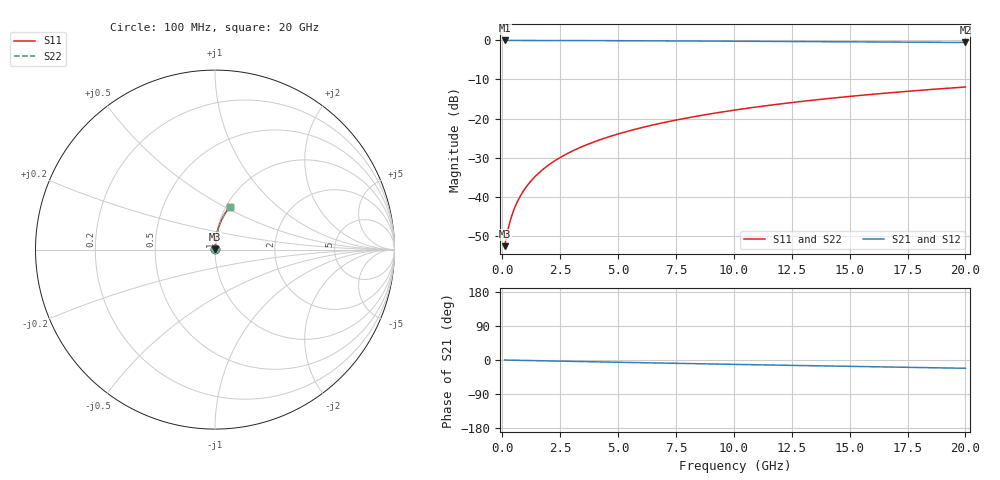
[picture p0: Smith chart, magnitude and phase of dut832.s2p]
! Touchstone file exported from HFSS 2024.1.0
!  File:  C:/UserFiles/LocalFiles/RDL_TSV_Batchsim/temp_RDL_bottom_832_1779863277.aedt
!  Generated:  02:30:48 PM May 27, 2026
!  Design:  RDL_bottom
!  Project:  temp_RDL_bottom_832_1779863277
!  Setup:  Setup1
!  Solution:  Sweep
! Variables:
!  dtsv = 10.80580581um
!  hbump = 3um
!  htsv = 84.84um
!  ldown = 277.91um
!  lrdl = 100um
!  p = 40
!  p1 = 41.54um
!  rhole = 1um
!  t = 450um
!  tdown = 3.91um
!  trdl = 3.915915916um
!  wdown = 14.24um
!  wrdl = 20um
# GHz S MA R 50.000000
! Terminal data exported
! Port[1] = RDL1_T1
! Port[2] = RDL1_T2
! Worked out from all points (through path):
!   200 points, 100 MHz to 20 GHz, reference 50 ohm
!   highest |S21| = -0.02 dB at 100 MHz (marker M1); lowest = -0.5 dB at 20 GHz (marker M2)
!   group delay of S21, straight-line fit = 3.02 ps
!   lowest |S11| = -52.7 dB at 100 MHz (marker M3), VSWR 1.00, Z = 50.2 + j0.134 ohm
!   |S11| at or under -10 dB: start of sweep to end of sweep
!   |S22| runs from -52.7 to -11.9 dB; largest |S21 - S12| = 3.6e-15
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0.1  0.002326 34.9  0.9981 -0.1  0.9981 -0.1  0.002326 34.9
! Gamma 0 0 0 0
! Port Impedance 50 0 50 0
0.2  0.003288 53.5  0.998 -0.3  0.998 -0.3  0.003288 53.5
0.3  0.004415 62.9  0.998 -0.4  0.998 -0.4  0.004415 62.9
0.4  0.005592 68.3  0.9979 -0.5  0.9979 -0.5  0.005592 68.3
0.5  0.006791 71.8  0.9978 -0.6  0.9978 -0.6  0.006791 71.8
0.6  0.008001 74.3  0.9978 -0.7  0.9978 -0.7  0.008001 74.3
0.8  0.01045 77.6  0.9976 -1.0  0.9976 -1.0  0.01045 77.6
1.1  0.01416 80.4  0.9974 -1.3  0.9974 -1.3  0.01416 80.4
1.5  0.01914 82.3  0.9971 -1.8  0.9971 -1.8  0.01914 82.3
1.8  0.0229 83.1  0.9968 -2.2  0.9968 -2.2  0.0229 83.1
2.1  0.02667 83.7  0.9965 -2.6  0.9965 -2.6  0.02667 83.7
2.7  0.03423 84.2  0.9957 -3.3  0.9957 -3.3  0.03423 84.2
3.5  0.04435 84.4  0.9943 -4.2  0.9943 -4.2  0.04435 84.4
4.2  0.05324 84.4  0.993 -5.0  0.993 -5.0  0.05324 84.4
5  0.06343 84.1  0.9912 -6.0  0.9912 -6.0  0.06343 84.1
5.9  0.07495 83.6  0.9889 -7.0  0.9889 -7.0  0.07495 83.6
6.8  0.08652 83.1  0.9864 -8.0  0.9864 -8.0  0.08652 83.1
8.3  0.1059 82.0  0.982 -9.7  0.982 -9.7  0.1059 82.0
10.1  0.1292 80.5  0.9763 -11.7  0.9763 -11.7  0.1292 80.5
13.4  0.1716 77.4  0.9651 -15.2  0.9651 -15.2  0.1716 77.4
16.7  0.2132 74.1  0.953 -18.5  0.953 -18.5  0.2132 74.1
20  0.2533 70.8  0.9401 -21.8  0.9401 -21.8  0.2533 70.8
